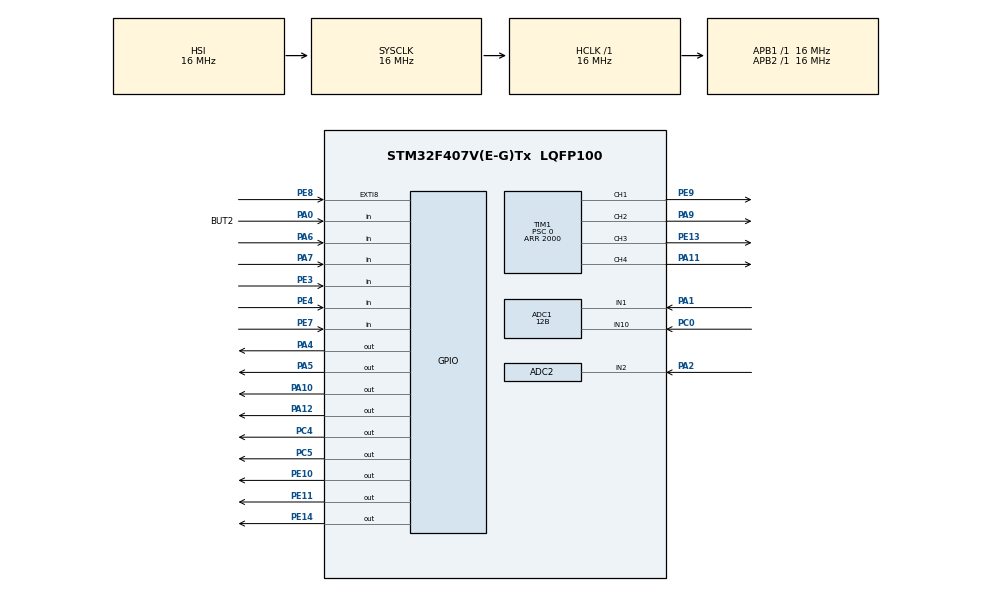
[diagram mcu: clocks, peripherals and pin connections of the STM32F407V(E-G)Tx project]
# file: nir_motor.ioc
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ADC1.Channel-1\#ChannelRegularConversion=ADC_CHANNEL_1
ADC1.NbrOfConversionFlag=1
ADC1.Rank-1\#ChannelRegularConversion=1
ADC1.Resolution=ADC_RESOLUTION_12B
ADC1.SamplingTime-1\#ChannelRegularConversion=ADC_SAMPLETIME_3CYCLES
ADC1.master=1
ADC2.Channel-0\#ChannelRegularConversion=ADC_CHANNEL_2
ADC2.NbrOfConversionFlag=1
ADC2.Rank-0\#ChannelRegularConversion=1
ADC2.SamplingTime-0\#ChannelRegularConversion=ADC_SAMPLETIME_3CYCLES
Mcu.Family=STM32F4
Mcu.Name=STM32F407V(E-G)Tx
Mcu.Package=LQFP100
NVIC.ADC_IRQn=true\:0\:0\:false\:false\:true\:true\:true\:true
NVIC.EXTI9_5_IRQn=true\:0\:0\:false\:false\:true\:true\:true\:true
NVIC.PriorityGroup=NVIC_PRIORITYGROUP_4
NVIC.TIM2_IRQn=true\:0\:0\:false\:false\:true\:true\:true\:true
PA0-WKUP.GPIO_Label=BUT2
PA0-WKUP.GPIO_PuPd=GPIO_PULLDOWN
PA0-WKUP.Signal=GPIO_Input
PA1.Signal=ADCx_IN1
PA10.Signal=GPIO_Output
PA11.Signal=S_TIM1_CH4
PA12.Signal=GPIO_Output
PA13.Mode=Serial_Wire
PA13.Signal=SYS_JTMS-SWDIO
PA14.Mode=Serial_Wire
PA14.Signal=SYS_JTCK-SWCLK
PA2.Signal=ADCx_IN2
PA4.GPIO_PuPd=GPIO_NOPULL
PA4.Signal=GPIO_Output
PA5.Signal=GPIO_Output
PA6.Signal=GPIO_Input
PA7.Signal=GPIO_Input
PA9.Signal=S_TIM1_CH2
PC0.Signal=ADCx_IN10
PC4.Signal=GPIO_Output
PC5.Signal=GPIO_Output
PC8.Signal=S_TIM3_CH3
PE10.Signal=GPIO_Output
PE11.Signal=GPIO_Output
PE13.Signal=S_TIM1_CH3
PE14.Signal=GPIO_Output
PE3.GPIO_PuPd=GPIO_PULLUP
PE3.Signal=GPIO_Input
PE4.GPIO_PuPd=GPIO_PULLUP
PE4.Signal=GPIO_Input
PE7.Signal=GPIO_Input
PE8.Signal=GPXTI8
PE9.Signal=S_TIM1_CH1
ProjectManager.HeapSize=0x200
ProjectManager.StackSize=0x400
ProjectManager.TargetToolchain=STM32CubeIDE
RCC.AHBFreq_Value=16000000
RCC.APB1Freq_Value=16000000
RCC.APB2Freq_Value=16000000
RCC.CortexFreq_Value=16000000
RCC.HSE_VALUE=25000000
RCC.HSI_VALUE=16000000
RCC.LSE_VALUE=32768
RCC.SYSCLKFreq_VALUE=16000000
RCC.VCOOutputFreq_Value=192000000
SH.ADCx_IN1.0=ADC1_IN1,IN1
SH.ADCx_IN10.0=ADC1_IN10,IN10
SH.ADCx_IN2.0=ADC2_IN2,IN2
SH.S_TIM1_CH1.0=TIM1_CH1,PWM Generation1 CH1
SH.S_TIM1_CH2.0=TIM1_CH2,PWM Generation2 CH2
SH.S_TIM1_CH3.0=TIM1_CH3,PWM Generation3 CH3
SH.S_TIM1_CH4.0=TIM1_CH4,PWM Generation4 CH4
SH.S_TIM3_CH3.0=TIM3_CH3
TIM1.AutoReloadPreload=TIM_AUTORELOAD_PRELOAD_DISABLE
TIM1.Channel-PWM\ Generation1\ CH1=TIM_CHANNEL_1
TIM1.Channel-PWM\ Generation2\ CH2=TIM_CHANNEL_2
TIM1.Channel-PWM\ Generation3\ CH3=TIM_CHANNEL_3
TIM1.Channel-PWM\ Generation4\ CH4=TIM_CHANNEL_4
TIM1.Period=2000
TIM1.Prescaler=0
TIM2.Period=500
TIM2.Prescaler=0
VP_TIM1_VS_ClockSourceINT.Mode=Internal
VP_TIM2_VS_ClockSourceINT.Mode=Internal
board=custom

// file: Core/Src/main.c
/* USER CODE BEGIN Header */

/* USER CODE END Header */
#include "main.h"

/* USER CODE BEGIN Includes */
#include "math.h"
#include <stdio.h>
#include <locale.h>

/* USER CODE END Includes */

ADC_HandleTypeDef hadc1;
ADC_HandleTypeDef hadc2;

TIM_HandleTypeDef htim1;
TIM_HandleTypeDef htim2;

/* USER CODE BEGIN PV */
uint16_t ADCdata;
int16_t error = 0;
int16_t p_error = 0;

volatile float angl1 = 0.0f;
volatile float angl2 = 90.0f;
volatile float angl3 = 0.0f;
volatile float angl4 = 0.0f;

float freq = 1;
float RPM = 0;
float Tpp = 10;
float speed = 0;
float angular_speed_rad_per_sec = 0;

int speed_desired = 10;
int angle_desired = 30*360;

float pid_integral_speed = 0;
float prev_speed_error = 0;

float integral = 0.0f;
float prev_error = 0.0f;
float pid_output_speed =0;
uint32_t last_time = 0;
uint8_t stop_flag = 0;

volatile int counter1 = 0;
volatile int counter2 = 0;

#define handler_prescaler 1200
#define handler_scaler_for_adc 40
#define PI 3.14159265359
#define PWM_PERIOD 2000
#define SINE_STEPS 360
#define TABLE_SIZE 18
#define ADC_AVG_COUNT 3
#define RPM_MAX 10000
#define MIN_FREQ 0.0f  // Минимальная частота
#define MAX_FREQ 750.0f // Максимальная частота
#define MAX_FREQ_ADJUSTMENT 200.0f // Максимальное изменение за шаг
#define KP 0.05f           // Коэффициент регулятора
#define KI 0.001f        // �?нтегральный коэффициент
#define KD 0.0f

#define KP2 0.005f           // Коэффициент регулятора
#define KI2 0.0001f        // �?нтегральный коэффициент
#define KD2 0.0f

uint32_t adc_values[ADC_AVG_COUNT] = {0};
uint8_t adc_index = 0;
uint32_t adc_sum = 0;

#define ADC_TABLE_SIZE 40

int16_t speed_table[ADC_TABLE_SIZE] = {
  0, 103, 159, 187, 218, 243, 269, 290, 314, 336, 357,
  374, 401, 429, 445, 473, 486, 510, 534, 558, 579,
  595, 622, 641, 665, 693, 717, 740, 751, 781, 804,
  834, 850, 872, 936, 949, 972, 1012, 1052, 1175
};

int16_t adc_table[ADC_TABLE_SIZE] = {
  0, 200, 300, 400, 500, 600, 700, 800, 900, 1000, 1100,
  1200, 1300, 1400, 1500, 1600, 1700, 1800, 1900, 2000, 2100,
  2200, 2300, 2400, 2500, 2600, 2700, 2800, 2900, 3000, 3100,
  3200, 3300, 3400, 3500, 3600, 3700, 3800, 3900, 4000
};

double sinuses[360];

int n = 15;

uint32_t adc_value = 0;
uint32_t voltage_mv = 0;
uint32_t voltage_avg_mv=0;

uint32_t prev_adc_value=0;
uint8_t derivative_sign=1;
uint32_t last_extremum_time;
int shaft_angle_deg=0;

char buffer[50];
uint32_t button_last_time = 0;
const uint32_t button_debounce = 100;
uint32_t adc_update_flag = 0;

uint32_t adc2_raw_value = 0;
uint32_t adc2_phase = 0;
int  derivative=0;
#define DERIVATIVE_WINDOW_SIZE 20
int derivative_buffer[DERIVATIVE_WINDOW_SIZE] = {0};
int derivative_buffer_index = 0;
int derivative_sum = 0;
float pid_integral = 0;
float pid_prev_error = 0;
#define MEDIAN_WINDOW_SIZE 25
static float speed_buffer[MEDIAN_WINDOW_SIZE] = {0};
static int sorted_indices[MEDIAN_WINDOW_SIZE] = {0};
static int position_in_sorted[MEDIAN_WINDOW_SIZE] = {0};
static int buffer_index = 0;
static int samples_count = 0;

/* USER CODE END PV */

void SystemClock_Config(void);
static void MX_GPIO_Init(void);
static void MX_TIM1_Init(void);
static void MX_TIM2_Init(void);
static void MX_ADC1_Init(void);
static void MX_ADC2_Init(void);

/* USER CODE BEGIN 0 */
void SWO_Print(char* msg) {
    for (int i = 0; msg[i] != '\0'; i++) {
        ITM_SendChar(msg[i]);
    }
    ITM_SendChar('\r');
    ITM_SendChar('\n');
}

float getSpeedFromADC(float adc) {
    for (int i = 0; i < ADC_TABLE_SIZE - 1; i++) {
        if (adc >= adc_table[i] && adc <= adc_table[i + 1]) {
            float x0 = adc_table[i];
            float x1 = adc_table[i + 1];
            float y0 = speed_table[i];
            float y1 = speed_table[i + 1];

            // Линейная интерполяция
            return y0 + ((adc - x0) * (y1 - y0)) / (x1 - x0);
        }
    }

    // Обработка вне диапазона
    if (adc < adc_table[0])
        return speed_table[0];
    else
        return speed_table[ADC_TABLE_SIZE - 1];
}

float Rads2Rpm(float rads) {
    return rads * 60.0f / (2.0f * 3.141592653589793f);
}

void HAL_TIM_PeriodElapsedCallback(TIM_HandleTypeDef *htim1) {
    if (htim1->Instance == TIM2) {

    	float angleStep = freq / 100;
        float angleStep_tacho = 300 / 100;
        float angleStep_vt = 300 / 100;
        angl1 += angleStep;
        angl2 += angleStep;
        angl3 += angleStep_tacho;
        angl4 += angleStep_vt;

        counter2 +=1;
        if (counter2 == handler_scaler_for_adc) {
            if (adc2_phase == 0) {
                if (HAL_ADC_Start(&hadc2) == HAL_OK)
                    adc2_phase = 1;
            } else {

            	adc2_raw_value = HAL_ADC_GetValue(&hadc2);
            	derivative_buffer_index+=1;
            	if (derivative_buffer_index==DERIVATIVE_WINDOW_SIZE){
            		derivative_buffer_index=0;
            	}
                HAL_ADC_Stop(&hadc2);
                adc2_phase = 0;

                //Определение угла
                derivative = (int)adc2_raw_value - (int)prev_adc_value;
                derivative_sum = derivative_sum + derivative - derivative_buffer[derivative_buffer_index];
                derivative_buffer[derivative_buffer_index]=derivative;
                derivative=(int)roundf(((float)derivative_sum)/(float)DERIVATIVE_WINDOW_SIZE);

                int new_sign = derivative_sign;
                if (derivative > 7) new_sign = 1;
                else if (derivative < 7) new_sign = -1;

                if (derivative_sign != new_sign) {
                    uint32_t current_time = HAL_GetTick();
                    uint32_t time_since_last_extr = current_time - last_extremum_time;
                    if (time_since_last_extr > 5) {
                        // Сохраняем НЕфильтрованное значение
                        float raw_speed = M_PI*1000.0f / (time_since_last_extr*2);

                        // МЕДИАННЫЙ ФИЛЬТР
                        speed_buffer[buffer_index] = raw_speed;

                        if (samples_count < MEDIAN_WINDOW_SIZE) {
                            sorted_indices[samples_count] = buffer_index;
                            position_in_sorted[buffer_index] = samples_count;

                            int i = samples_count;
                            while (i > 0 && speed_buffer[sorted_indices[i-1]] > raw_speed) {
                                sorted_indices[i] = sorted_indices[i-1];
                                position_in_sorted[sorted_indices[i]] = i;
                                i--;
                            }
                            sorted_indices[i] = buffer_index;
                            position_in_sorted[buffer_index] = i;

                            samples_count++;
                        } else {
                            int old_pos = position_in_sorted[buffer_index];

                            for (int i = old_pos; i < MEDIAN_WINDOW_SIZE - 1; i++) {
                                sorted_indices[i] = sorted_indices[i + 1];
                                position_in_sorted[sorted_indices[i]] = i;
                            }

                            int insert_pos = MEDIAN_WINDOW_SIZE - 1;
                            for (int i = 0; i < MEDIAN_WINDOW_SIZE - 1; i++) {
                                if (raw_speed < speed_buffer[sorted_indices[i]]) {
                                    insert_pos = i;
                                    break;
                                }
                            }

                            for (int i = MEDIAN_WINDOW_SIZE - 1; i > insert_pos; i--) {
                                sorted_indices[i] = sorted_indices[i - 1];
                                position_in_sorted[sorted_indices[i]] = i;
                            }

                            sorted_indices[insert_pos] = buffer_index;
                            position_in_sorted[buffer_index] = insert_pos;
                        }

                        int median_index = (samples_count < MEDIAN_WINDOW_SIZE) ? samples_count / 2 : MEDIAN_WINDOW_SIZE / 2;
                        // Присваиваем ОТФИЛЬТРОВАННОЕ значение
                        angular_speed_rad_per_sec = speed_buffer[sorted_indices[median_index]];

                        buffer_index++;
                        if (buffer_index >= MEDIAN_WINDOW_SIZE) {
                            buffer_index = 0;
                        }

                        shaft_angle_deg = (shaft_angle_deg + 90);
                        if (shaft_angle_deg%360==0){
                        	int oborot = shaft_angle_deg/360;
                        }
						if (shaft_angle_deg >= angle_desired){
							stop_flag = 1;
							angular_speed_rad_per_sec = 0;
                        }

                    }
                    last_extremum_time = current_time;
                }
                derivative_sign = new_sign;
                prev_adc_value = adc2_raw_value;

                float angle_error = angle_desired - shaft_angle_deg;
                float dt = (float)handler_scaler_for_adc / 32000.0;

                // PID для угла с антивиндапом
                pid_integral += angle_error * dt;
//                // Антивиндап: ограничиваем интегральную составляющую
//                if (pid_integral > 100.0f) pid_integral = 100.0f;
//                else if (pid_integral < -100.0f) pid_integral = -100.0f;

                float pid_output_angle = KP * angle_error + KI * pid_integral + KD * (angle_error - pid_prev_error) / dt;
                pid_prev_error = angle_error;
                if (pid_output_angle > 110) pid_output_angle = 110;
                else if (pid_output_angle < 20) pid_output_angle = 20;

                // PID для скорости с антивиндапом
                float speed_error = pid_output_angle - angular_speed_rad_per_sec;
                pid_integral_speed += speed_error * dt;

//                // Антивиндап: ограничиваем интегральную составляющую для скорости
//                if (pid_integral_speed > 100.0f) pid_integral_speed = 100.0f;
//                else if (pid_integral_speed < -20.0f) pid_integral_speed = -20.0f;

                pid_output_speed = KP2 * speed_error + KI2 * pid_integral_speed + KD2 * (speed_error - prev_speed_error) / dt;
                prev_speed_error = speed_error;
                if (pid_output_speed > 2) pid_output_speed = 5;
                else if (pid_output_speed < -2) pid_output_speed = -5;
                freq = freq + pid_output_speed;
                if (freq>100) freq = 100;
                if (freq<30) freq = 30;

				sprintf(buffer, "%4d", (int)roundf(shaft_angle_deg));
				SWO_Print(buffer);
				sprintf(buffer, "%4d", (int)roundf(angular_speed_rad_per_sec));
								SWO_Print(buffer);
            }
            counter2 = 0;
        }

    }
}

/* USER CODE END 0 */

int main(void)
{

  /* MCU Configuration--------------------------------------------------------*/

  /* Reset of all peripherals, Initializes the Flash interface and the Systick. */

	HAL_Init();

  /* Configure the system clock */
  SystemClock_Config();

  /* Initialize all configured peripherals */
  MX_GPIO_Init();
  MX_TIM1_Init();
  MX_TIM2_Init();
  MX_ADC1_Init();
  MX_ADC2_Init();
  /* USER CODE BEGIN 2 */
  HAL_GPIO_TogglePin(GPIOE, GPIO_PIN_11);
  HAL_TIM_Base_Start_IT(&htim2);
  HAL_TIM_PWM_Start(&htim1, TIM_CHANNEL_1);
  HAL_TIM_PWM_Start(&htim1, TIM_CHANNEL_2);
  HAL_TIM_PWM_Start(&htim1, TIM_CHANNEL_3);
  HAL_TIM_PWM_Start(&htim1, TIM_CHANNEL_4);

  /* USER CODE END 2 */

  /* Infinite loop */
  /* USER CODE BEGIN WHILE */
  int k;

  for(k=0; k < 360; k++) {
  			sinuses[k] = ((double)sinf(k * PI / 180.0f));
  }

  while (1)
  {

	  // Форматируем строку
	  float sinValue1 = sinuses[(int)roundf(angl1)];
	  float sinValue2 = sinuses[(int)roundf(angl2)];
	  float sinValue3 = sinuses[(int)roundf(angl3)];
	  float sinValue4 = sinuses[(int)roundf(angl3)];

	  if (stop_flag){
		  HAL_GPIO_WritePin(GPIOC, GPIO_PIN_5, GPIO_PIN_RESET);
		  HAL_GPIO_WritePin(GPIOC, GPIO_PIN_4, GPIO_PIN_RESET);
		  HAL_GPIO_WritePin(GPIOA, GPIO_PIN_4, GPIO_PIN_RESET);
		  HAL_GPIO_WritePin(GPIOA, GPIO_PIN_5, GPIO_PIN_RESET);
		  HAL_GPIO_WritePin(GPIOE, GPIO_PIN_10, GPIO_PIN_RESET);
		  HAL_GPIO_WritePin(GPIOE, GPIO_PIN_14, GPIO_PIN_RESET);
		  HAL_GPIO_WritePin(GPIOA, GPIO_PIN_10, GPIO_PIN_RESET);
		  HAL_GPIO_WritePin(GPIOA, GPIO_PIN_12, GPIO_PIN_RESET);
	  }
	  else{
		  //PE9 - PC4-PC5
		  if (sinValue1 >= 0) {
			  HAL_GPIO_WritePin(GPIOC, GPIO_PIN_5, GPIO_PIN_RESET);
			  HAL_GPIO_WritePin(GPIOC, GPIO_PIN_4, GPIO_PIN_SET);
		  } else {
			  HAL_GPIO_WritePin(GPIOC, GPIO_PIN_4, GPIO_PIN_RESET);
			  HAL_GPIO_WritePin(GPIOC, GPIO_PIN_5, GPIO_PIN_SET);
		  }

		  //PA9 - PA4-PA5
		  if (sinValue2 >= 0) {
			  HAL_GPIO_WritePin(GPIOA, GPIO_PIN_4, GPIO_PIN_RESET);
			  HAL_GPIO_WritePin(GPIOA, GPIO_PIN_5, GPIO_PIN_SET);
		  } else {
			  HAL_GPIO_WritePin(GPIOA, GPIO_PIN_5, GPIO_PIN_RESET);
			  HAL_GPIO_WritePin(GPIOA, GPIO_PIN_4, GPIO_PIN_SET);
		  }

		  //PE13 - PE10-PE14 (Taho Generator)

		  if (sinValue3 >= 0) {
			  HAL_GPIO_WritePin(GPIOE, GPIO_PIN_10, GPIO_PIN_RESET);
			  HAL_GPIO_WritePin(GPIOE, GPIO_PIN_14, GPIO_PIN_SET);
		  } else {
			  HAL_GPIO_WritePin(GPIOE, GPIO_PIN_14, GPIO_PIN_RESET);
			  HAL_GPIO_WritePin(GPIOE, GPIO_PIN_10, GPIO_PIN_SET);
		  }

		  //PA11 -pa10-pa12 (Vrash transformator)
		  if (sinValue4 >= 0) {
			  HAL_GPIO_WritePin(GPIOA, GPIO_PIN_10, GPIO_PIN_RESET);
			  HAL_GPIO_WritePin(GPIOA, GPIO_PIN_12, GPIO_PIN_SET);
		  } else {
			  HAL_GPIO_WritePin(GPIOA, GPIO_PIN_12, GPIO_PIN_RESET);
			  HAL_GPIO_WritePin(GPIOA, GPIO_PIN_10, GPIO_PIN_SET);
		  }
	  }

	  uint16_t pwmValue1 = (uint16_t)(fabs(sinValue1)*PWM_PERIOD);
	  uint16_t pwmValue2 = (uint16_t)(fabs(sinValue2)*PWM_PERIOD);
	  uint16_t pwmValue3 = (uint16_t)(fabs(sinValue3)*PWM_PERIOD);
	  uint16_t pwmValue4 = (uint16_t)(fabs(sinValue3)*PWM_PERIOD);

	  TIM1->CCR1 = pwmValue1;
	  TIM1->CCR2 = pwmValue2;
	  TIM1->CCR3 = pwmValue3;
	  TIM1->CCR4 = pwmValue4;

	  if (angl1 >= SINE_STEPS){
		  angl1 = (int)angl1 % SINE_STEPS;
		  angl2 = angl1+90;

	  }
	  if (angl2 >= SINE_STEPS)
		  angl2 = (int)angl2 % SINE_STEPS;

	  if (angl3 >= SINE_STEPS)
		  angl3 = (int)angl3 % SINE_STEPS;

	  if (angl4 >= SINE_STEPS)
	  		  angl4 = (int)angl4 % SINE_STEPS;

  }
    /* USER CODE END WHILE */

}

void SystemClock_Config(void)
{
  RCC_OscInitTypeDef RCC_OscInitStruct = {0};
  RCC_ClkInitTypeDef RCC_ClkInitStruct = {0};

  /** Configure the main internal regulator output voltage
  */
  __HAL_RCC_PWR_CLK_ENABLE();
  __HAL_PWR_VOLTAGESCALING_CONFIG(PWR_REGULATOR_VOLTAGE_SCALE1);

  /** Initializes the RCC Oscillators according to the specified parameters
  * in the RCC_OscInitTypeDef structure.
  */
  RCC_OscInitStruct.OscillatorType = RCC_OSCILLATORTYPE_HSI;
  RCC_OscInitStruct.HSIState = RCC_HSI_ON;
  RCC_OscInitStruct.HSICalibrationValue = RCC_HSICALIBRATION_DEFAULT;
  RCC_OscInitStruct.PLL.PLLState = RCC_PLL_NONE;
  if (HAL_RCC_OscConfig(&RCC_OscInitStruct) != HAL_OK)
  {
    Error_Handler();
  }

  /** Initializes the CPU, AHB and APB buses clocks
  */
  RCC_ClkInitStruct.ClockType = RCC_CLOCKTYPE_HCLK|RCC_CLOCKTYPE_SYSCLK
                              |RCC_CLOCKTYPE_PCLK1|RCC_CLOCKTYPE_PCLK2;
  RCC_ClkInitStruct.SYSCLKSource = RCC_SYSCLKSOURCE_HSI;
  RCC_ClkInitStruct.AHBCLKDivider = RCC_SYSCLK_DIV1;
  RCC_ClkInitStruct.APB1CLKDivider = RCC_HCLK_DIV1;
  RCC_ClkInitStruct.APB2CLKDivider = RCC_HCLK_DIV1;

  if (HAL_RCC_ClockConfig(&RCC_ClkInitStruct, FLASH_LATENCY_0) != HAL_OK)
  {
    Error_Handler();
  }
}

static void MX_ADC1_Init(void)
{

  ADC_ChannelConfTypeDef sConfig = {0};

  /** Configure the global features of the ADC (Clock, Resolution, Data Alignment and number of conversion)
  */
  hadc1.Instance = ADC1;
  hadc1.Init.ClockPrescaler = ADC_CLOCK_SYNC_PCLK_DIV2;
  hadc1.Init.Resolution = ADC_RESOLUTION_12B;
  hadc1.Init.ScanConvMode = DISABLE;
  hadc1.Init.ContinuousConvMode = DISABLE;
  hadc1.Init.DiscontinuousConvMode = DISABLE;
  hadc1.Init.ExternalTrigConvEdge = ADC_EXTERNALTRIGCONVEDGE_NONE;
  hadc1.Init.ExternalTrigConv = ADC_SOFTWARE_START;
  hadc1.Init.DataAlign = ADC_DATAALIGN_RIGHT;
  hadc1.Init.NbrOfConversion = 1;
  hadc1.Init.DMAContinuousRequests = DISABLE;
  hadc1.Init.EOCSelection = ADC_EOC_SINGLE_CONV;
  if (HAL_ADC_Init(&hadc1) != HAL_OK)
  {
    Error_Handler();
  }

  /** Configure for the selected ADC regular channel its corresponding rank in the sequencer and its sample time.
  */
  sConfig.Channel = ADC_CHANNEL_1;
  sConfig.Rank = 1;
  sConfig.SamplingTime = ADC_SAMPLETIME_3CYCLES;
  if (HAL_ADC_ConfigChannel(&hadc1, &sConfig) != HAL_OK)
  {
    Error_Handler();
  }

}

static void MX_ADC2_Init(void)
{

  ADC_ChannelConfTypeDef sConfig = {0};

  /** Configure the global features of the ADC (Clock, Resolution, Data Alignment and number of conversion)
  */
  hadc2.Instance = ADC2;
  hadc2.Init.ClockPrescaler = ADC_CLOCK_SYNC_PCLK_DIV2;
  hadc2.Init.Resolution = ADC_RESOLUTION_12B;
  hadc2.Init.ScanConvMode = DISABLE;
  hadc2.Init.ContinuousConvMode = DISABLE;
  hadc2.Init.DiscontinuousConvMode = DISABLE;
  hadc2.Init.ExternalTrigConvEdge = ADC_EXTERNALTRIGCONVEDGE_NONE;
  hadc2.Init.ExternalTrigConv = ADC_SOFTWARE_START;
  hadc2.Init.DataAlign = ADC_DATAALIGN_RIGHT;
  hadc2.Init.NbrOfConversion = 1;
  hadc2.Init.DMAContinuousRequests = DISABLE;
  hadc2.Init.EOCSelection = ADC_EOC_SINGLE_CONV;
  if (HAL_ADC_Init(&hadc2) != HAL_OK)
  {
    Error_Handler();
  }

  /** Configure for the selected ADC regular channel its corresponding rank in the sequencer and its sample time.
  */
  sConfig.Channel = ADC_CHANNEL_2;
  sConfig.Rank = 1;
  sConfig.SamplingTime = ADC_SAMPLETIME_3CYCLES;
  if (HAL_ADC_ConfigChannel(&hadc2, &sConfig) != HAL_OK)
  {
    Error_Handler();
  }

}

static void MX_TIM1_Init(void)
{

  TIM_ClockConfigTypeDef sClockSourceConfig = {0};
  TIM_MasterConfigTypeDef sMasterConfig = {0};
  TIM_OC_InitTypeDef sConfigOC = {0};
  TIM_BreakDeadTimeConfigTypeDef sBreakDeadTimeConfig = {0};

  htim1.Instance = TIM1;
  htim1.Init.Prescaler = 0;
  htim1.Init.CounterMode = TIM_COUNTERMODE_UP;
  htim1.Init.Period = 2000;
  htim1.Init.ClockDivision = TIM_CLOCKDIVISION_DIV1;
  htim1.Init.RepetitionCounter = 0;
  htim1.Init.AutoReloadPreload = TIM_AUTORELOAD_PRELOAD_DISABLE;
  if (HAL_TIM_Base_Init(&htim1) != HAL_OK)
  {
    Error_Handler();
  }
  sClockSourceConfig.ClockSource = TIM_CLOCKSOURCE_INTERNAL;
  if (HAL_TIM_ConfigClockSource(&htim1, &sClockSourceConfig) != HAL_OK)
  {
    Error_Handler();
  }
  if (HAL_TIM_PWM_Init(&htim1) != HAL_OK)
  {
    Error_Handler();
  }
  sMasterConfig.MasterOutputTrigger = TIM_TRGO_RESET;
  sMasterConfig.MasterSlaveMode = TIM_MASTERSLAVEMODE_DISABLE;
  if (HAL_TIMEx_MasterConfigSynchronization(&htim1, &sMasterConfig) != HAL_OK)
  {
    Error_Handler();
  }
  sConfigOC.OCMode = TIM_OCMODE_PWM1;
  sConfigOC.Pulse = 0;
  sConfigOC.OCPolarity = TIM_OCPOLARITY_HIGH;
  sConfigOC.OCNPolarity = TIM_OCNPOLARITY_HIGH;
  sConfigOC.OCFastMode = TIM_OCFAST_DISABLE;
  sConfigOC.OCIdleState = TIM_OCIDLESTATE_RESET;
  sConfigOC.OCNIdleState = TIM_OCNIDLESTATE_RESET;
  if (HAL_TIM_PWM_ConfigChannel(&htim1, &sConfigOC, TIM_CHANNEL_1) != HAL_OK)
  {
    Error_Handler();
  }
  if (HAL_TIM_PWM_ConfigChannel(&htim1, &sConfigOC, TIM_CHANNEL_2) != HAL_OK)
  {
    Error_Handler();
  }
  if (HAL_TIM_PWM_ConfigChannel(&htim1, &sConfigOC, TIM_CHANNEL_3) != HAL_OK)
  {
    Error_Handler();
  }
  if (HAL_TIM_PWM_ConfigChannel(&htim1, &sConfigOC, TIM_CHANNEL_4) != HAL_OK)
  {
    Error_Handler();
  }
  sBreakDeadTimeConfig.OffStateRunMode = TIM_OSSR_DISABLE;
  sBreakDeadTimeConfig.OffStateIDLEMode = TIM_OSSI_DISABLE;
  sBreakDeadTimeConfig.LockLevel = TIM_LOCKLEVEL_OFF;
  sBreakDeadTimeConfig.DeadTime = 0;
  sBreakDeadTimeConfig.BreakState = TIM_BREAK_DISABLE;
  sBreakDeadTimeConfig.BreakPolarity = TIM_BREAKPOLARITY_HIGH;
  sBreakDeadTimeConfig.AutomaticOutput = TIM_AUTOMATICOUTPUT_DISABLE;
  if (HAL_TIMEx_ConfigBreakDeadTime(&htim1, &sBreakDeadTimeConfig) != HAL_OK)
  {
    Error_Handler();
  }
  HAL_TIM_MspPostInit(&htim1);

}

static void MX_TIM2_Init(void)
{

  TIM_ClockConfigTypeDef sClockSourceConfig = {0};
  TIM_MasterConfigTypeDef sMasterConfig = {0};

  htim2.Instance = TIM2;
  htim2.Init.Prescaler = 0;
  htim2.Init.CounterMode = TIM_COUNTERMODE_UP;
  htim2.Init.Period = 500;
  htim2.Init.ClockDivision = TIM_CLOCKDIVISION_DIV1;
  htim2.Init.AutoReloadPreload = TIM_AUTORELOAD_PRELOAD_DISABLE;
  if (HAL_TIM_Base_Init(&htim2) != HAL_OK)
  {
    Error_Handler();
  }
  sClockSourceConfig.ClockSource = TIM_CLOCKSOURCE_INTERNAL;
  if (HAL_TIM_ConfigClockSource(&htim2, &sClockSourceConfig) != HAL_OK)
  {
    Error_Handler();
  }
  sMasterConfig.MasterOutputTrigger = TIM_TRGO_RESET;
  sMasterConfig.MasterSlaveMode = TIM_MASTERSLAVEMODE_DISABLE;
  if (HAL_TIMEx_MasterConfigSynchronization(&htim2, &sMasterConfig) != HAL_OK)
  {
    Error_Handler();
  }

}

static void MX_GPIO_Init(void)
{
  GPIO_InitTypeDef GPIO_InitStruct = {0};

  /* GPIO Ports Clock Enable */
  __HAL_RCC_GPIOE_CLK_ENABLE();
  __HAL_RCC_GPIOC_CLK_ENABLE();
  __HAL_RCC_GPIOA_CLK_ENABLE();

  /*Configure GPIO pin Output Level */
  HAL_GPIO_WritePin(GPIOA, GPIO_PIN_4|GPIO_PIN_5|GPIO_PIN_10|GPIO_PIN_12, GPIO_PIN_RESET);

  /*Configure GPIO pin Output Level */
  HAL_GPIO_WritePin(GPIOC, GPIO_PIN_4|GPIO_PIN_5, GPIO_PIN_RESET);

  /*Configure GPIO pin Output Level */
  HAL_GPIO_WritePin(GPIOE, GPIO_PIN_10|GPIO_PIN_11|GPIO_PIN_14, GPIO_PIN_RESET);

  /*Configure GPIO pins : PE3 PE4 */
  GPIO_InitStruct.Pin = GPIO_PIN_3|GPIO_PIN_4;
  GPIO_InitStruct.Mode = GPIO_MODE_INPUT;
  GPIO_InitStruct.Pull = GPIO_PULLUP;
  HAL_GPIO_Init(GPIOE, &GPIO_InitStruct);

  /*Configure GPIO pin : BUT2_Pin */
  GPIO_InitStruct.Pin = BUT2_Pin;
  GPIO_InitStruct.Mode = GPIO_MODE_INPUT;
  GPIO_InitStruct.Pull = GPIO_PULLDOWN;
  HAL_GPIO_Init(BUT2_GPIO_Port, &GPIO_InitStruct);

  /*Configure GPIO pins : PA4 PA5 PA10 PA12 */
  GPIO_InitStruct.Pin = GPIO_PIN_4|GPIO_PIN_5|GPIO_PIN_10|GPIO_PIN_12;
  GPIO_InitStruct.Mode = GPIO_MODE_OUTPUT_PP;
  GPIO_InitStruct.Pull = GPIO_NOPULL;
  GPIO_InitStruct.Speed = GPIO_SPEED_FREQ_LOW;
  HAL_GPIO_Init(GPIOA, &GPIO_InitStruct);

  /*Configure GPIO pins : PA6 PA7 */
  GPIO_InitStruct.Pin = GPIO_PIN_6|GPIO_PIN_7;
  GPIO_InitStruct.Mode = GPIO_MODE_INPUT;
  GPIO_InitStruct.Pull = GPIO_NOPULL;
  HAL_GPIO_Init(GPIOA, &GPIO_InitStruct);

  /*Configure GPIO pins : PC4 PC5 */
  GPIO_InitStruct.Pin = GPIO_PIN_4|GPIO_PIN_5;
  GPIO_InitStruct.Mode = GPIO_MODE_OUTPUT_PP;
  GPIO_InitStruct.Pull = GPIO_NOPULL;
  GPIO_InitStruct.Speed = GPIO_SPEED_FREQ_LOW;
  HAL_GPIO_Init(GPIOC, &GPIO_InitStruct);

  /*Configure GPIO pin : PE7 */
  GPIO_InitStruct.Pin = GPIO_PIN_7;
  GPIO_InitStruct.Mode = GPIO_MODE_INPUT;
  GPIO_InitStruct.Pull = GPIO_NOPULL;
  HAL_GPIO_Init(GPIOE, &GPIO_InitStruct);

  /*Configure GPIO pin : PE8 */
  GPIO_InitStruct.Pin = GPIO_PIN_8;
  GPIO_InitStruct.Mode = GPIO_MODE_IT_RISING;
  GPIO_InitStruct.Pull = GPIO_NOPULL;
  HAL_GPIO_Init(GPIOE, &GPIO_InitStruct);

  /*Configure GPIO pins : PE10 PE11 PE14 */
  GPIO_InitStruct.Pin = GPIO_PIN_10|GPIO_PIN_11|GPIO_PIN_14;
  GPIO_InitStruct.Mode = GPIO_MODE_OUTPUT_PP;
  GPIO_InitStruct.Pull = GPIO_NOPULL;
  GPIO_InitStruct.Speed = GPIO_SPEED_FREQ_LOW;
  HAL_GPIO_Init(GPIOE, &GPIO_InitStruct);

  /*Configure GPIO pin : PC8 */
  GPIO_InitStruct.Pin = GPIO_PIN_8;
  GPIO_InitStruct.Mode = GPIO_MODE_AF_PP;
  GPIO_InitStruct.Pull = GPIO_NOPULL;
  GPIO_InitStruct.Speed = GPIO_SPEED_FREQ_LOW;
  GPIO_InitStruct.Alternate = GPIO_AF2_TIM3;
  HAL_GPIO_Init(GPIOC, &GPIO_InitStruct);

  /* EXTI interrupt init*/
  HAL_NVIC_SetPriority(EXTI9_5_IRQn, 0, 0);
  HAL_NVIC_EnableIRQ(EXTI9_5_IRQn);

}

/* USER CODE BEGIN 4 */
void HAL_GPIO_EXTI_Callback(uint16_t GPIO_Pin)

{
	if(HAL_GPIO_ReadPin(GPIOE,GPIO_PIN_7)==GPIO_PIN_SET)
	{
		//angle++;
	}
	else
	{
//		angle--;
	}
}
/* USER CODE END 4 */

void Error_Handler(void)
{
  __disable_irq();
  while (1)
  {
  }
}
